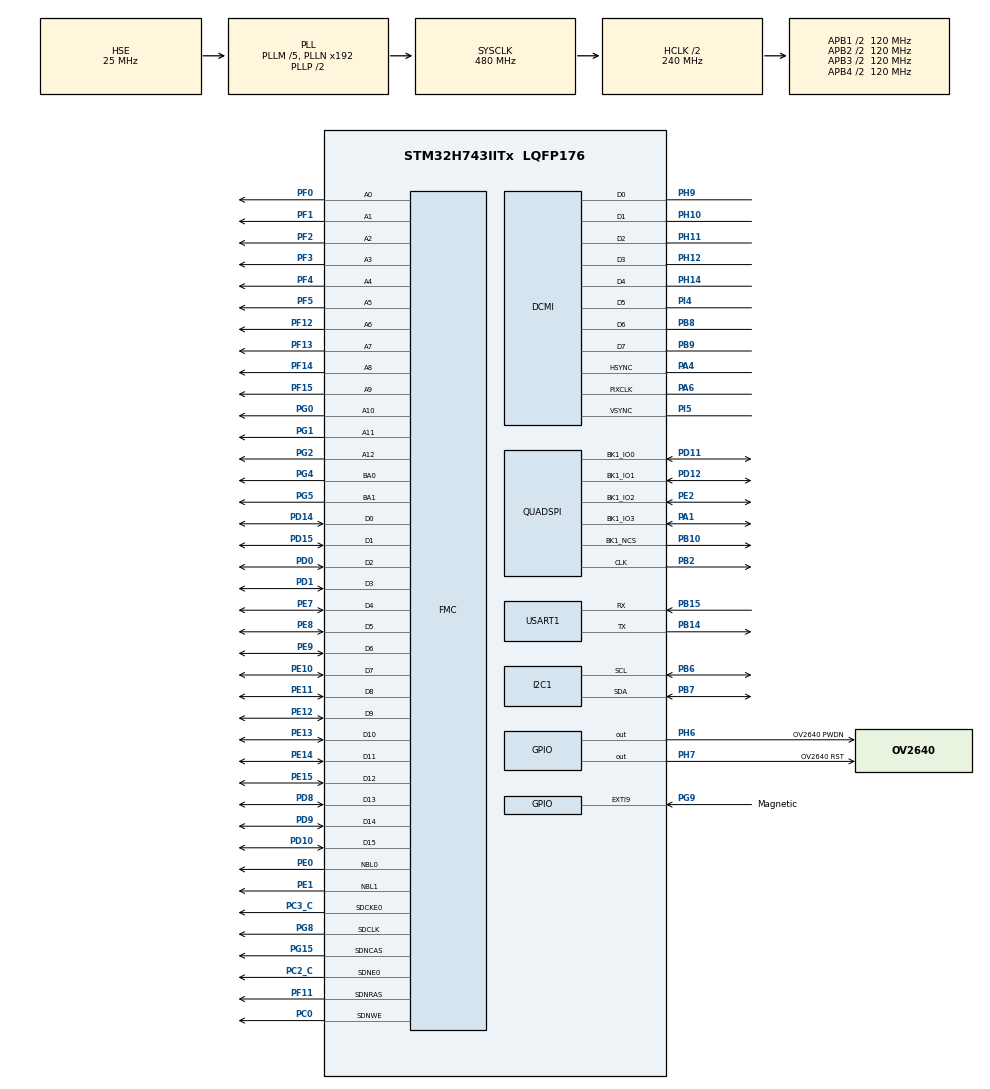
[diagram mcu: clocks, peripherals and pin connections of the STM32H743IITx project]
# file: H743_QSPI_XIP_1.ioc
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CORTEX_M7.CPU_DCache=Enabled
CORTEX_M7.CPU_ICache=Enabled
CORTEX_M7.MPU_Control=__NULL
DCMI.PCKPolarity=DCMI_PCKPOLARITY_RISING
DCMI.VSPolarity=DCMI_VSPOLARITY_LOW
Dma.DCMI.2.Direction=DMA_PERIPH_TO_MEMORY
Dma.DCMI.2.EventEnable=ENABLE
Dma.DCMI.2.FIFOMode=DMA_FIFOMODE_DISABLE
Dma.DCMI.2.Instance=DMA1_Stream2
Dma.DCMI.2.MemDataAlignment=DMA_MDATAALIGN_WORD
Dma.DCMI.2.MemInc=DMA_MINC_ENABLE
Dma.DCMI.2.Mode=DMA_CIRCULAR
Dma.DCMI.2.PeriphDataAlignment=DMA_PDATAALIGN_WORD
Dma.DCMI.2.PeriphInc=DMA_PINC_DISABLE
Dma.DCMI.2.Polarity=HAL_DMAMUX_REQ_GEN_RISING
Dma.DCMI.2.Priority=DMA_PRIORITY_VERY_HIGH
Dma.DCMI.2.RequestNumber=1
Dma.DCMI.2.SignalID=NONE
Dma.DCMI.2.SyncEnable=ENABLE
Dma.DCMI.2.SyncPolarity=HAL_DMAMUX_SYNC_RISING
Dma.DCMI.2.SyncRequestNumber=1
Dma.DCMI.2.SyncSignalID=NONE
Dma.Request0=USART1_TX
Dma.Request1=USART1_RX
Dma.Request2=DCMI
Dma.USART1_RX.1.Direction=DMA_PERIPH_TO_MEMORY
Dma.USART1_RX.1.EventEnable=ENABLE
Dma.USART1_RX.1.FIFOMode=DMA_FIFOMODE_DISABLE
Dma.USART1_RX.1.Instance=DMA1_Stream1
Dma.USART1_RX.1.MemDataAlignment=DMA_MDATAALIGN_BYTE
Dma.USART1_RX.1.MemInc=DMA_MINC_ENABLE
Dma.USART1_RX.1.Mode=DMA_CIRCULAR
Dma.USART1_RX.1.PeriphDataAlignment=DMA_PDATAALIGN_BYTE
Dma.USART1_RX.1.PeriphInc=DMA_PINC_DISABLE
Dma.USART1_RX.1.Polarity=HAL_DMAMUX_REQ_GEN_RISING
Dma.USART1_RX.1.Priority=DMA_PRIORITY_LOW
Dma.USART1_RX.1.RequestNumber=1
Dma.USART1_RX.1.SignalID=NONE
Dma.USART1_RX.1.SyncEnable=ENABLE
Dma.USART1_RX.1.SyncPolarity=HAL_DMAMUX_SYNC_RISING
Dma.USART1_RX.1.SyncRequestNumber=1
Dma.USART1_RX.1.SyncSignalID=NONE
Dma.USART1_TX.0.Direction=DMA_MEMORY_TO_PERIPH
Dma.USART1_TX.0.EventEnable=DISABLE
Dma.USART1_TX.0.FIFOMode=DMA_FIFOMODE_DISABLE
Dma.USART1_TX.0.Instance=DMA1_Stream0
Dma.USART1_TX.0.MemDataAlignment=DMA_MDATAALIGN_BYTE
Dma.USART1_TX.0.MemInc=DMA_MINC_ENABLE
Dma.USART1_TX.0.Mode=DMA_NORMAL
Dma.USART1_TX.0.PeriphDataAlignment=DMA_PDATAALIGN_BYTE
Dma.USART1_TX.0.PeriphInc=DMA_PINC_DISABLE
Dma.USART1_TX.0.Polarity=HAL_DMAMUX_REQ_GEN_RISING
Dma.USART1_TX.0.Priority=DMA_PRIORITY_LOW
Dma.USART1_TX.0.RequestNumber=1
Dma.USART1_TX.0.SignalID=NONE
Dma.USART1_TX.0.SyncEnable=DISABLE
Dma.USART1_TX.0.SyncPolarity=HAL_DMAMUX_SYNC_NO_EVENT
Dma.USART1_TX.0.SyncRequestNumber=1
Dma.USART1_TX.0.SyncSignalID=NONE
FMC.CASLatency1=FMC_SDRAM_CAS_LATENCY_2
FMC.ExitSelfRefreshDelay1=9
FMC.LoadToActiveDelay1=2
FMC.RCDDelay1=2
FMC.RPDelay1=2
FMC.RPDelay2=2
FMC.ReadBurst1=FMC_SDRAM_RBURST_ENABLE
FMC.ReadBurst2=FMC_SDRAM_RBURST_ENABLE
FMC.RowCycleDelay1=8
FMC.RowCycleDelay2=8
FMC.SDClockPeriod1=FMC_SDRAM_CLOCK_PERIOD_2
FMC.SDClockPeriod2=FMC_SDRAM_CLOCK_PERIOD_2
FMC.SelfRefreshTime1=6
FMC.WriteRecoveryTime1=4
FREERTOS.Tasks01=defaultTask,24,128,StartDefaultTask,Default,NULL,Dynamic,NULL,NULL
FREERTOS.configTOTAL_HEAP_SIZE=30720
FREERTOS.configUSE_NEWLIB_REENTRANT=1
I2C1.Timing=0x307075B1
Mcu.Family=STM32H7
Mcu.Name=STM32H743IITx
Mcu.Package=LQFP176
NVIC.DMA1_Stream0_IRQn=true\:5\:0\:false\:false\:true\:true\:false\:true\:true
NVIC.DMA1_Stream1_IRQn=true\:5\:0\:false\:false\:true\:true\:false\:true\:true
NVIC.DMA1_Stream2_IRQn=true\:5\:0\:false\:false\:true\:true\:false\:true\:true
NVIC.DMAMUX1_OVR_IRQn=true\:0\:0\:false\:false\:true\:false\:false\:true\:true
NVIC.PriorityGroup=NVIC_PRIORITYGROUP_4
NVIC.TIM6_DAC_IRQn=true\:15\:0\:false\:false\:true\:false\:false\:true\:true
NVIC.TimeBase=TIM6_DAC_IRQn
NVIC.TimeBaseIP=TIM6
NVIC.USART1_IRQn=true\:5\:0\:false\:false\:true\:true\:true\:true\:true
PA1.GPIO_Speed=GPIO_SPEED_FREQ_VERY_HIGH
PA1.Mode=Single Bank 1
PA1.Signal=QUADSPI_BK1_IO3
PA13\ (JTMS/SWDIO).Mode=Serial_Wire
PA13\ (JTMS/SWDIO).Signal=DEBUG_JTMS-SWDIO
PA14\ (JTCK/SWCLK).Mode=Serial_Wire
PA14\ (JTCK/SWCLK).Signal=DEBUG_JTCK-SWCLK
PA4.Mode=Slave_8_bits_External_Synchro
PA4.Signal=DCMI_HSYNC
PA6.Mode=Slave_8_bits_External_Synchro
PA6.Signal=DCMI_PIXCLK
PB10.GPIO_Speed=GPIO_SPEED_FREQ_VERY_HIGH
PB10.Mode=Single Bank 1
PB10.Signal=QUADSPI_BK1_NCS
PB14.Mode=Asynchronous
PB14.Signal=USART1_TX
PB15.Mode=Asynchronous
PB15.Signal=USART1_RX
PB2.GPIO_Speed=GPIO_SPEED_FREQ_VERY_HIGH
PB2.Mode=Single Bank 1
PB2.Signal=QUADSPI_CLK
PB6.Mode=I2C
PB6.Signal=I2C1_SCL
PB7.Mode=I2C
PB7.Signal=I2C1_SDA
PB8.Mode=Slave_8_bits_External_Synchro
PB8.Signal=DCMI_D6
PB9.Mode=Slave_8_bits_External_Synchro
PB9.Signal=DCMI_D7
PC0.Signal=FMC_SDNWE
PC2_C.Mode=SdramChipSelect1_1
PC2_C.Signal=FMC_SDNE0
PC3_C.Mode=SdramChipSelect1_1
PC3_C.Signal=FMC_SDCKE0
PD0.Signal=FMC_D2_DA2
PD1.Signal=FMC_D3_DA3
PD10.Signal=FMC_D15_DA15
PD11.GPIO_Speed=GPIO_SPEED_FREQ_VERY_HIGH
PD11.Mode=Single Bank 1
PD11.Signal=QUADSPI_BK1_IO0
PD12.GPIO_Speed=GPIO_SPEED_FREQ_VERY_HIGH
PD12.Mode=Single Bank 1
PD12.Signal=QUADSPI_BK1_IO1
PD14.Signal=FMC_D0_DA0
PD15.Signal=FMC_D1_DA1
PD8.Signal=FMC_D13_DA13
PD9.Signal=FMC_D14_DA14
PE0.Signal=FMC_NBL0
PE1.Signal=FMC_NBL1
PE10.Signal=FMC_D7_DA7
PE11.Signal=FMC_D8_DA8
PE12.Signal=FMC_D9_DA9
PE13.Signal=FMC_D10_DA10
PE14.Signal=FMC_D11_DA11
PE15.Signal=FMC_D12_DA12
PE2.GPIO_Speed=GPIO_SPEED_FREQ_VERY_HIGH
PE2.Mode=Single Bank 1
PE2.Signal=QUADSPI_BK1_IO2
PE7.Signal=FMC_D4_DA4
PE8.Signal=FMC_D5_DA5
PE9.Signal=FMC_D6_DA6
PF0.Signal=FMC_A0
PF1.Signal=FMC_A1
PF11.Signal=FMC_SDNRAS
PF12.Signal=FMC_A6
PF13.Signal=FMC_A7
PF14.Signal=FMC_A8
PF15.Signal=FMC_A9
PF2.Signal=FMC_A2
PF3.Signal=FMC_A3
PF4.Signal=FMC_A4
PF5.Signal=FMC_A5
PG0.Signal=FMC_A10
PG1.Signal=FMC_A11
PG15.Signal=FMC_SDNCAS
PG2.Signal=FMC_A12
PG4.Signal=FMC_A14_BA0
PG5.Signal=FMC_A15_BA1
PG8.Signal=FMC_SDCLK
PG9.GPIO_Label=Magnetic
PG9.Signal=GPXTI9
PH0-OSC_IN\ (PH0).Mode=HSE-External-Oscillator
PH0-OSC_IN\ (PH0).Signal=RCC_OSC_IN
PH1-OSC_OUT\ (PH1).Mode=HSE-External-Oscillator
PH1-OSC_OUT\ (PH1).Signal=RCC_OSC_OUT
PH10.Mode=Slave_8_bits_External_Synchro
PH10.Signal=DCMI_D1
PH11.Mode=Slave_8_bits_External_Synchro
PH11.Signal=DCMI_D2
PH12.Mode=Slave_8_bits_External_Synchro
PH12.Signal=DCMI_D3
PH14.Mode=Slave_8_bits_External_Synchro
PH14.Signal=DCMI_D4
PH6.GPIO_Label=OV2640 PWDN
PH6.Signal=GPIO_Output
PH7.GPIO_Label=OV2640 RST
PH7.Signal=GPIO_Output
PH9.Mode=Slave_8_bits_External_Synchro
PH9.Signal=DCMI_D0
PI4.Mode=Slave_8_bits_External_Synchro
PI4.Signal=DCMI_D5
PI5.Mode=Slave_8_bits_External_Synchro
PI5.Signal=DCMI_VSYNC
ProjectManager.HeapSize=0x800
ProjectManager.StackSize=0x800
ProjectManager.TargetToolchain=STM32CubeIDE
QUADSPI.ChipSelectHighTime=QSPI_CS_HIGH_TIME_5_CYCLE
QUADSPI.ClockPrescaler=1
QUADSPI.FifoThreshold=4
QUADSPI.FlashSize=24
QUADSPI.SampleShifting=QSPI_SAMPLE_SHIFTING_HALFCYCLE
RCC.ADCFreq_Value=50390625
RCC.APB1CLKDivider=RCC_HCLK_DIV4
RCC.APB1Freq_Value=120000000
RCC.APB2CLKDivider=RCC_HCLK_DIV2
RCC.APB2Freq_Value=120000000
RCC.APB3Freq_Value=120000000
RCC.APB4Freq_Value=120000000
RCC.CortexFreq_Value=480000000
RCC.D1PPRE=RCC_APB3_DIV2
RCC.D2PPRE1=RCC_APB1_DIV2
RCC.D2PPRE2=RCC_APB2_DIV2
RCC.D3PPRE=RCC_APB4_DIV2
RCC.DIVM1=5
RCC.DIVM3=4
RCC.DIVN1=192
RCC.DIVN3=480
RCC.DIVQ1=20
RCC.DIVQ3=8
RCC.FLatency=FLASH_LATENCY_4
RCC.HCLKFreq_Value=240000000
RCC.HPRE=RCC_HCLK_DIV2
RCC.HSE_VALUE=25000000
RCC.PLL2FRACN=0
RCC.PLL3FRACN=0
RCC.PLLFRACN=0
RCC.PLLM=25
RCC.PLLMUL=RCC_PLL_MUL9
RCC.PLLN=432
RCC.PLLQ=9
RCC.PLLSourceVirtual=RCC_PLLSOURCE_HSE
RCC.PRESCALERUSB=RCC_USBCLKSOURCE_PLL_DIV1_5
RCC.PWR_Regulator_Voltage_Scale=PWR_REGULATOR_VOLTAGE_SCALE0
RCC.RCC_TIM_PRescaler_Selection=RCC_TIMPRES_DESACTIVATED
RCC.SYSCLKFreq_VALUE=480000000
RCC.SYSCLKSource=RCC_SYSCLKSOURCE_PLLCLK
RCC.SYSCLKSourceVirtual=RCC_SYSCLKSOURCE_PLLCLK
RCC.USBFreq_Value=48000000
SH.FMC_A0.0=FMC_A0,13b-sda1
SH.FMC_A1.0=FMC_A1,13b-sda1
SH.FMC_A10.0=FMC_A10,13b-sda1
SH.FMC_A11.0=FMC_A11,13b-sda1
SH.FMC_A12.0=FMC_A12,13b-sda1
SH.FMC_A14_BA0.0=FMC_BA0,FourSdramBanks1
SH.FMC_A15_BA1.0=FMC_BA1,FourSdramBanks1
SH.FMC_A2.0=FMC_A2,13b-sda1
SH.FMC_A3.0=FMC_A3,13b-sda1
SH.FMC_A4.0=FMC_A4,13b-sda1
SH.FMC_A5.0=FMC_A5,13b-sda1
SH.FMC_A6.0=FMC_A6,13b-sda1
SH.FMC_A7.0=FMC_A7,13b-sda1
SH.FMC_A8.0=FMC_A8,13b-sda1
SH.FMC_A9.0=FMC_A9,13b-sda1
SH.FMC_D0_DA0.0=FMC_D0,sd-16b-d1
SH.FMC_D10_DA10.0=FMC_D10,sd-16b-d1
SH.FMC_D11_DA11.0=FMC_D11,sd-16b-d1
SH.FMC_D12_DA12.0=FMC_D12,sd-16b-d1
SH.FMC_D13_DA13.0=FMC_D13,sd-16b-d1
SH.FMC_D14_DA14.0=FMC_D14,sd-16b-d1
SH.FMC_D15_DA15.0=FMC_D15,sd-16b-d1
SH.FMC_D1_DA1.0=FMC_D1,sd-16b-d1
SH.FMC_D2_DA2.0=FMC_D2,sd-16b-d1
SH.FMC_D3_DA3.0=FMC_D3,sd-16b-d1
SH.FMC_D4_DA4.0=FMC_D4,sd-16b-d1
SH.FMC_D5_DA5.0=FMC_D5,sd-16b-d1
SH.FMC_D6_DA6.0=FMC_D6,sd-16b-d1
SH.FMC_D7_DA7.0=FMC_D7,sd-16b-d1
SH.FMC_D8_DA8.0=FMC_D8,sd-16b-d1
SH.FMC_D9_DA9.0=FMC_D9,sd-16b-d1
SH.FMC_NBL0.0=FMC_NBL0,Sd2ByteEnable1
SH.FMC_NBL1.0=FMC_NBL1,Sd2ByteEnable1
SH.FMC_SDCLK.0=FMC_SDCLK,13b-sda1
SH.FMC_SDNCAS.0=FMC_SDNCAS,13b-sda1
SH.FMC_SDNRAS.0=FMC_SDNRAS,13b-sda1
SH.FMC_SDNWE.0=FMC_SDNWE,13b-sda1
STMicroelectronics.X-CUBE-AI.10.2.1.ActivationBufferSizeList=6144000
STMicroelectronics.X-CUBE-AI.10.2.1.ActivationBuffers=pool0
STMicroelectronics.X-CUBE-AI.10.2.1.ActivationNames=pool0
STMicroelectronics.X-CUBE-AI.10.2.1.ActivationSizes=AI_NETWORK_DATA_ACTIVATION_1_SIZE
STMicroelectronics.X-CUBE-AI.10.2.1.ApplicationCcDeviceJjApplication=ApplicationTemplate
STMicroelectronics.X-CUBE-AI.10.2.1.HeapSize=0x800
STMicroelectronics.X-CUBE-AI.10.2.1.InternalRamActivationBufferMaxSize=AI_NETWORK_DATA_ACTIVATIONS_SIZE
STMicroelectronics.X-CUBE-AI.10.2.1.LatestDirectoryUsed-649c6b218e1c7f8d7f800607e15a954ef76ad44a305595168177c2e55fea80ee=E\:\\VScodeProjects\\QS\\YOLOv8forSTM\\v6_results
STMicroelectronics.X-CUBE-AI.10.2.1.MaximumNumberOfInputLayer=1
STMicroelectronics.X-CUBE-AI.10.2.1.MaximumNumberOfOutputLayer=1
STMicroelectronics.X-CUBE-AI.10.2.1.MaximumSizeOfInputLayer=1
STMicroelectronics.X-CUBE-AI.10.2.1.MaximumSizeOfOutputLayer=1
STMicroelectronics.X-CUBE-AI.10.2.1.ModelActualCompression-649c6b218e1c7f8d7f800607e15a954ef76ad44a305595168177c2e55fea80ee=0.0
STMicroelectronics.X-CUBE-AI.10.2.1.ModelCompression-649c6b218e1c7f8d7f800607e15a954ef76ad44a305595168177c2e55fea80ee=High
STMicroelectronics.X-CUBE-AI.10.2.1.ModelFlashOccupation-649c6b218e1c7f8d7f800607e15a954ef76ad44a305595168177c2e55fea80ee=10392528
STMicroelectronics.X-CUBE-AI.10.2.1.ModelHashList=649c6b218e1c7f8d7f800607e15a954ef76ad44a305595168177c2e55fea80ee
STMicroelectronics.X-CUBE-AI.10.2.1.ModelKind-649c6b218e1c7f8d7f800607e15a954ef76ad44a305595168177c2e55fea80ee=ONNX
STMicroelectronics.X-CUBE-AI.10.2.1.ModelMacc-649c6b218e1c7f8d7f800607e15a954ef76ad44a305595168177c2e55fea80ee=1132046565
STMicroelectronics.X-CUBE-AI.10.2.1.ModelName-649c6b218e1c7f8d7f800607e15a954ef76ad44a305595168177c2e55fea80ee=network
STMicroelectronics.X-CUBE-AI.10.2.1.ModelNameList=network
STMicroelectronics.X-CUBE-AI.10.2.1.ModelRamOccupation-649c6b218e1c7f8d7f800607e15a954ef76ad44a305595168177c2e55fea80ee=6144000
STMicroelectronics.X-CUBE-AI.10.2.1.ModelStructureFile-649c6b218e1c7f8d7f800607e15a954ef76ad44a305595168177c2e55fea80ee=E\:\\VScodeProjects\\QS\\YOLOv8forSTM\\v6_results\\student_best_320.onnx
STMicroelectronics.X-CUBE-AI.10.2.1.ModelType-649c6b218e1c7f8d7f800607e15a954ef76ad44a305595168177c2e55fea80ee=STM32Cube.AI MCU runtime
STMicroelectronics.X-CUBE-AI.10.2.1.ReadyForCodeGeneration=false
STMicroelectronics.X-CUBE-AI.10.2.1.StackSize=0x800
STMicroelectronics.X-CUBE-AI.10.2.1.WorkingBufferStartAddrList=0xFFFFFFFF
STMicroelectronics.X-CUBE-AI.10.2.1.XAaCUBEAaAICcArtificialOoIntelligenceJjCore=true
STMicroelectronics.X-CUBE-AI.10.2.1.copyWeightToRam=false
STMicroelectronics.X-CUBE-AI.10.2.1.copyWeightToRam-649c6b218e1c7f8d7f800607e15a954ef76ad44a305595168177c2e55fea80ee=false
STMicroelectronics.X-CUBE-AI.10.2.1.customLayerConfigEnabled=false
STMicroelectronics.X-CUBE-AI.10.2.1.customLayerConfigEnabled-649c6b218e1c7f8d7f800607e15a954ef76ad44a305595168177c2e55fea80ee=false
STMicroelectronics.X-CUBE-AI.10.2.1.noOnnxIoTranspose=false
STMicroelectronics.X-CUBE-AI.10.2.1.noOnnxIoTranspose-649c6b218e1c7f8d7f800607e15a954ef76ad44a305595168177c2e55fea80ee=false
STMicroelectronics.X-CUBE-AI.10.2.1.useInputAllocation=true
STMicroelectronics.X-CUBE-AI.10.2.1.useInputAllocation-649c6b218e1c7f8d7f800607e15a954ef76ad44a305595168177c2e55fea80ee=true
STMicroelectronics.X-CUBE-AI.10.2.1.useOutputAllocation=true
STMicroelectronics.X-CUBE-AI.10.2.1.useOutputAllocation-649c6b218e1c7f8d7f800607e15a954ef76ad44a305595168177c2e55fea80ee=true
USART1.VirtualMode-Asynchronous=VM_ASYNC
VP_FREERTOS_VS_CMSIS_V2.Mode=CMSIS_V2
VP_MEMORYMAP_VS_MEMORYMAP.Mode=CurAppReg
VP_STMicroelectronics.X-CUBE-AI_VS_ArtificialOoIntelligenceJjXAaCUBEAaAI_10.2.1.Mode=ArtificialOoIntelligenceJjXAaCUBEAaAI
VP_STMicroelectronics.X-CUBE-AI_VS_DeviceJjApplication_10.2.1.Mode=DeviceJjApplication
VP_SYS_VS_tim6.Mode=TIM6
board=custom

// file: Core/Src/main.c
/* USER CODE BEGIN Header */
/**
  ******************************************************************************
  * @file           : main.c
  * @brief          : Main program body
  ******************************************************************************
  * @attention
  *
  * <h2><center>&copy; Copyright (c) 2021 STMicroelectronics.
  * All rights reserved.</center></h2>
  *
  * This software component is licensed by ST under BSD 3-Clause license,
  * the "License"; You may not use this file except in compliance with the
  * License. You may obtain a copy of the License at:
  *                        opensource.org/licenses/BSD-3-Clause
  *
  ******************************************************************************
  */
/* USER CODE END Header */
#include "main.h"
#include "FreeRTOS.h"
#include "cmsis_os2.h"
#include "dcmi.h"
#include "dma.h"
#include "i2c.h"
#include "quadspi.h"
#include "usart.h"
#include "gpio.h"
#include "fmc.h"
#include "app_x-cube-ai.h"

/* USER CODE BEGIN Includes */
#include "string.h"
#include "stdio.h"

#include "test_config.h"

#ifdef TEST_PHASE_UART
#include "test_uart.h"
#endif
#if defined(TEST_PHASE_OV2640) || defined(TEST_PHASE_OV2640_SNAPSHOT)
#include "test_ov2640.h"
#endif
/* USER CODE END Includes */

void SystemClock_Config(void);
void MX_FREERTOS_Init(void);

int main(void)
{

  /* Enable the CPU Cache */

  /* MCU Configuration--------------------------------------------------------*/

  /* Reset of all peripherals, Initializes the Flash interface and the Systick. */
  HAL_Init();

  /* USER CODE BEGIN Init */
  MPU_Config();

  /* USER CODE END Init */

  /* Configure the system clock */
  SystemClock_Config();

  /* Initialize all configured peripherals */
  MX_GPIO_Init();
  MX_DMA_Init();
  MX_QUADSPI_Init();
  MX_FMC_Init();
  MX_USART1_UART_Init();
  MX_DCMI_Init();
  MX_I2C1_Init();
  /* USER CODE BEGIN 2 */
  SCB_EnableICache();
  SCB_EnableDCache();
  SDRAM_InitSequence();
  CSP_QUADSPI_Init();
  CSP_QSPI_EnableMemoryMappedMode();
  MX_X_CUBE_AI_Init();

  /* USER CODE END 2 */

#ifdef TEST_PHASE_UART
  /* Phase 1: 裸机串口测试 */
  test_uart_run();
#elif defined(TEST_PHASE_OV2640) || defined(TEST_PHASE_OV2640_SNAPSHOT)
  /* Phase 2: 裸机 OV2640 测试 */
  test_ov2640_run();
#else
  /* Phase 3+: FreeRTOS 多任务流程 */
  osKernelInitialize();
  MX_FREERTOS_Init();
  osKernelStart();
#endif

  /* We should never get here as control is now taken by the scheduler */

  /* Infinite loop */
  while (1)
  {

  }
}

void SystemClock_Config(void)
{
  RCC_OscInitTypeDef RCC_OscInitStruct = {0};
  RCC_ClkInitTypeDef RCC_ClkInitStruct = {0};

  /** Supply configuration update enable
  */
  HAL_PWREx_ConfigSupply(PWR_LDO_SUPPLY);

  /** Configure the main internal regulator output voltage
  */
  __HAL_PWR_VOLTAGESCALING_CONFIG(PWR_REGULATOR_VOLTAGE_SCALE0);

  while(!__HAL_PWR_GET_FLAG(PWR_FLAG_VOSRDY)) {}

  /** Initializes the RCC Oscillators according to the specified parameters
  * in the RCC_OscInitTypeDef structure.
  */
  RCC_OscInitStruct.OscillatorType = RCC_OSCILLATORTYPE_HSE;
  RCC_OscInitStruct.HSEState = RCC_HSE_ON;
  RCC_OscInitStruct.PLL.PLLState = RCC_PLL_ON;
  RCC_OscInitStruct.PLL.PLLSource = RCC_PLLSOURCE_HSE;
  RCC_OscInitStruct.PLL.PLLM = 5;
  RCC_OscInitStruct.PLL.PLLN = 192;
  RCC_OscInitStruct.PLL.PLLP = 2;
  RCC_OscInitStruct.PLL.PLLQ = 20;
  RCC_OscInitStruct.PLL.PLLR = 2;
  RCC_OscInitStruct.PLL.PLLRGE = RCC_PLL1VCIRANGE_2;
  RCC_OscInitStruct.PLL.PLLVCOSEL = RCC_PLL1VCOWIDE;
  RCC_OscInitStruct.PLL.PLLFRACN = 0;
  if (HAL_RCC_OscConfig(&RCC_OscInitStruct) != HAL_OK)
  {
    Error_Handler();
  }

  /** Initializes the CPU, AHB and APB buses clocks
  */
  RCC_ClkInitStruct.ClockType = RCC_CLOCKTYPE_HCLK|RCC_CLOCKTYPE_SYSCLK
                              |RCC_CLOCKTYPE_PCLK1|RCC_CLOCKTYPE_PCLK2
                              |RCC_CLOCKTYPE_D3PCLK1|RCC_CLOCKTYPE_D1PCLK1;
  RCC_ClkInitStruct.SYSCLKSource = RCC_SYSCLKSOURCE_PLLCLK;
  RCC_ClkInitStruct.SYSCLKDivider = RCC_SYSCLK_DIV1;
  RCC_ClkInitStruct.AHBCLKDivider = RCC_HCLK_DIV2;
  RCC_ClkInitStruct.APB3CLKDivider = RCC_APB3_DIV2;
  RCC_ClkInitStruct.APB1CLKDivider = RCC_APB1_DIV2;
  RCC_ClkInitStruct.APB2CLKDivider = RCC_APB2_DIV2;
  RCC_ClkInitStruct.APB4CLKDivider = RCC_APB4_DIV2;

  if (HAL_RCC_ClockConfig(&RCC_ClkInitStruct, FLASH_LATENCY_4) != HAL_OK)
  {
    Error_Handler();
  }
}

/* USER CODE BEGIN 4 */
/* ── printf 重定向到 USART1（所有 Phase 通用）── */
int _write(int fd, char *ptr, int len)
{
    HAL_UART_Transmit(&huart1, (uint8_t *)ptr, len, 100);
    return len;
}

static void MPU_Config(void){
    MPU_Region_InitTypeDef M={0};
    HAL_MPU_Disable();
    M.Enable=MPU_REGION_ENABLE; M.BaseAddress=0x90000000; M.Size=MPU_REGION_SIZE_32MB;
    M.AccessPermission=MPU_REGION_FULL_ACCESS; M.IsBufferable=MPU_ACCESS_BUFFERABLE;
    M.IsCacheable=MPU_ACCESS_CACHEABLE; M.IsShareable=MPU_ACCESS_NOT_SHAREABLE;
    M.Number=MPU_REGION_NUMBER0; M.TypeExtField=MPU_TEX_LEVEL1; M.SubRegionDisable=0x00;
    M.DisableExec=MPU_INSTRUCTION_ACCESS_ENABLE; HAL_MPU_ConfigRegion(&M);
    M.BaseAddress=0xC0000000; M.Size=MPU_REGION_SIZE_32MB; M.Number=MPU_REGION_NUMBER1;
    M.DisableExec=MPU_INSTRUCTION_ACCESS_DISABLE; HAL_MPU_ConfigRegion(&M);
    HAL_MPU_Enable(MPU_PRIVILEGED_DEFAULT);
}

/* USER CODE END 4 */

void HAL_TIM_PeriodElapsedCallback(TIM_HandleTypeDef *htim)
{
  if (htim->Instance == TIM6)
  {
    HAL_IncTick();
  }
}

void Error_Handler(void)
{
  __disable_irq();
  while (1)
  {
  }
}

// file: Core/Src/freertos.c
/* USER CODE BEGIN Header */
/**
  ******************************************************************************
  * File Name          : freertos.c
  * Description        : Code for freertos applications
  ******************************************************************************
  * @attention
  *
  * Copyright (c) 2026 STMicroelectronics.
  * All rights reserved.
  *
  * This software is licensed under terms that can be found in the LICENSE file
  * in the root directory of this software component.
  * If no LICENSE file comes with this software, it is provided AS-IS.
  *
  ******************************************************************************
  */
/* USER CODE END Header */

#include "FreeRTOS.h"
#include "task.h"
#include "main.h"
#include "FreeRTOS.h"
#include "cmsis_os2.h"

/* USER CODE BEGIN Includes */
#include "app_tasks.h"

/* USER CODE END Includes */

/* Definitions for defaultTask */
osThreadId_t defaultTaskHandle;
const osThreadAttr_t defaultTask_attributes = {
  .name = "defaultTask",
  .stack_size = 128 * 4,
  .priority = (osPriority_t) osPriorityNormal,
};

void StartDefaultTask(void *argument);

void MX_FREERTOS_Init(void); /* (MISRA C 2004 rule 8.1) */

void MX_FREERTOS_Init(void) {

  /* USER CODE BEGIN RTOS_QUEUES */
  g_frame_queue = xQueueCreate(4, sizeof(uint8_t*));
  /* add queues, ... */
  /* USER CODE END RTOS_QUEUES */

  /* Create the thread(s) */
  /* creation of defaultTask */
  defaultTaskHandle = osThreadNew(StartDefaultTask, NULL, &defaultTask_attributes);

  /* USER CODE BEGIN RTOS_THREADS */
  const osThreadAttr_t cam_attr = {.name="Camera",.stack_size=1024*4,.priority=osPriorityHigh};
  const osThreadAttr_t ai_attr  = {.name="AI",.stack_size=4096*4,.priority=osPriorityNormal};
  const osThreadAttr_t mon_attr = {.name="Monitor",.stack_size=512*4,.priority=osPriorityLow};
  camTaskHandle = osThreadNew(vTaskCamera, NULL, &cam_attr);
  aiTaskHandle  = osThreadNew(vTaskAI, NULL, &ai_attr);
  monTaskHandle = osThreadNew(vTaskMonitor, NULL, &mon_attr);
  /* add threads, ... */
  /* USER CODE END RTOS_THREADS */

}

void StartDefaultTask(void *argument)
{
  for(;;)
  {
    osDelay(1);
  }
}
